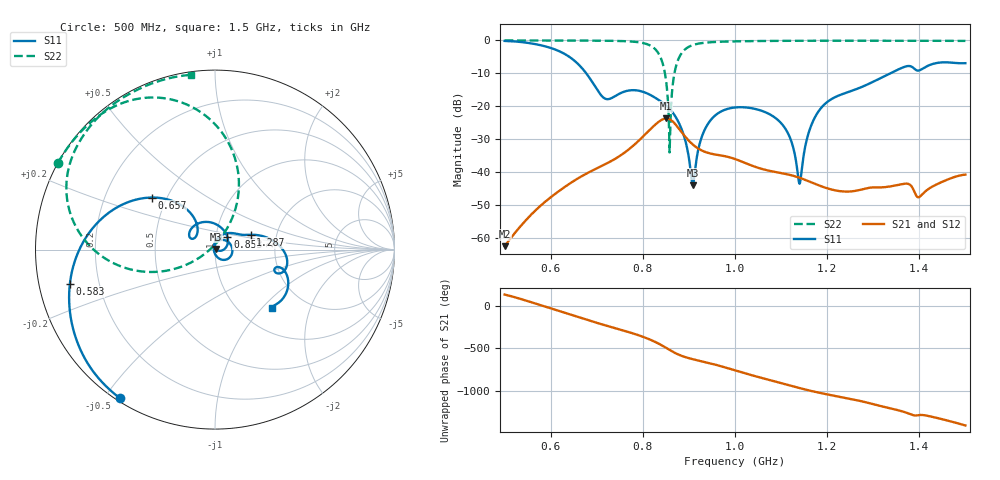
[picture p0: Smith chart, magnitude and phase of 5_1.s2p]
! TOUCHSTONE file generated by CST MICROWAVE STUDIO
! Date and time: Fri Oct  2 18:45:40 2020
! Project name: Scenario_1_Free_Space_out_of_line.cst
! Parameters = {Lambda=346.42; Step_1=17.321; dy1=278.276; dx1=173; L_HA=400; MT=2.54; Rad_Dielectric=30; Rad_Lower=7.3; Rad_Upper=30; a_HA=580; a_WG=246; b_HA=500; b_WG=121; c_HA=0; c_WG=187; d_feed=85; h_feed=15; h_lower=18; h_upper=40}
! Header version: 2018
! Port assignment regex: !\s*Touchstone port\s*([0-9]+)\s*=\s*(CST MWS port|CST DS port)\s*([0-9]+|Zmin|Zmax)\s*\(\"(.*)\"\)(\s*mode\s*([0-9]+))?.*
! Touchstone port assignment:
! Touchstone port 1 = CST MWS port 1 ("")
! Touchstone port 2 = CST MWS port 2 ("")
# GHz S DB R 50
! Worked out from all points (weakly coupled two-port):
!   1003 points, 500 MHz to 1.5 GHz, reference 50 ohm
!   highest |S21| = -23.65 dB at 851 MHz (marker M1); lowest = -62.3 dB at 500 MHz (marker M2)
!   lowest |S11| = -43.9 dB at 908 MHz (marker M3), VSWR 1.01, Z = 50.5 + j0.351 ohm
!   |S11| at or under -10 dB: 677.3 MHz to 1.336 GHz (658.9 MHz wide, 65.4 % of centre)
!   |S22| runs from -33.9 to 0.0 dB; largest |S21 - S12| = 5.4e-05
!   S11 on the Smith chart (normalised r, x): 500 MHz: 0.01, -0.55; 583 MHz: 0.09, -0.12; 657 MHz: 0.41, +0.30; 853 MHz: 1.13, +0.17; 1.287 GHz: 1.47, +0.26; 1.5 GHz: 1.39, -1.13
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0.5  -0.15 -122.7  -62.33 129.4  -62.33 129.4  -0.01 151.1
0.583  -1.61 -166.7  -49.47 -4.0  -49.47 -4.0  -0.01 145.3
0.657  -6.82 140.5  -41.98 -130.4  -41.98 -130.4  -0.04 139.2
0.667  -8.25 133.6  -41.16 -147.6  -41.16 -147.6  -0.04 138.3
0.719  -17.69 141.0  -37.46 126.1  -37.46 126.2  -0.10 132.3
0.787  -15.14 126.9  -30.90 17.3  -30.90 17.3  -0.48 117.5
0.834  -17.99 73.4  -24.70 -87.5  -24.70 -87.5  -3.94 85.3
0.851  -19.73 49.8  -23.65 -139.5  -23.65 -139.5  -12.86 62.3
0.853  -19.98 46.7  -23.67 -146.0  -23.67 -146.0  -15.60 60.6
0.859  -20.84 37.1  -23.96 -165.4  -23.96 -165.4  -29.34 -172.3
0.875  -24.12 11.2  -26.15 148.6  -26.15 148.6  -6.45 -166.3
0.908  -43.92 33.0  -31.48 88.8  -31.48 88.8  -1.42 163.9
0.94  -25.56 68.7  -34.01 47.7  -33.99 47.6  -0.62 151.3
1  -20.31 1.7  -35.92 -43.5  -35.93 -43.5  -0.28 140.1
1.099  -24.90 -63.8  -40.14 169.0  -40.15 169.0  -0.13 129.8
1.122  -30.47 -83.8  -40.84 135.2  -40.86 135.2  -0.11 127.8
1.14  -43.42 -171.9  -41.61 109.1  -41.63 109.1  -0.10 126.3
1.167  -25.20 82.0  -43.07 72.8  -43.08 72.8  -0.10 124.2
1.287  -13.36 22.7  -44.74 -63.0  -44.71 -63.1  -0.09 115.0
1.334  -10.15 11.1  -44.29 -125.4  -44.29 -125.4  -0.08 111.4
1.399  -9.12 -17.2  -47.49 150.8  -47.49 150.8  -0.10 106.4
1.5  -6.89 -45.7  -40.65 28.7  -40.65 28.6  -0.15 97.8
